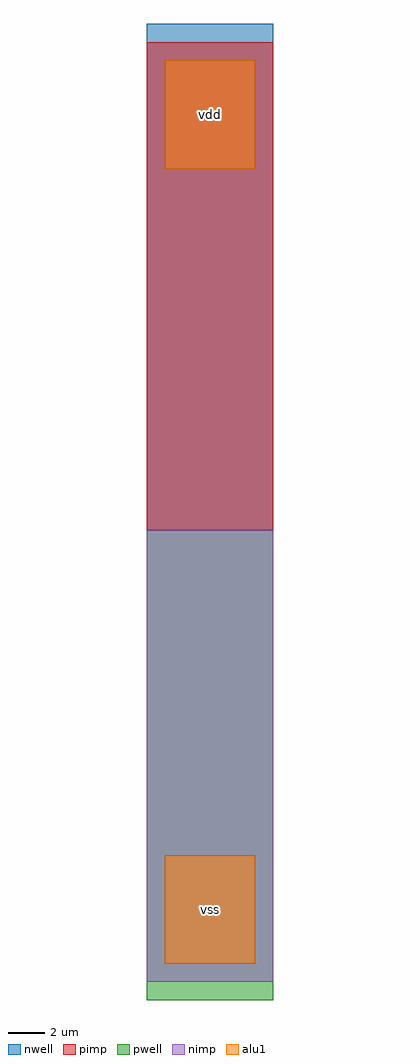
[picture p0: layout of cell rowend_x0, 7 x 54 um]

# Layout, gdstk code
import gdstk
lib = gdstk.Library(unit=1e-6, precision=1e-09)
def R(c, l, rs):  # rectangles x0, y0, x1, y1
    for r in rs: c.add(gdstk.rectangle(r[:2], r[2:], *l))
pwell = (41, 0)
nwell = (42, 0)
pimp = (44, 0)
nimp = (45, 0)
alu1 = (49, 0)

rowend_x0 = lib.new_cell('rowend_x0')
R(rowend_x0, pwell, [(-1,-2,6,24)])
R(rowend_x0, nwell, [(-1,24,6,52)])
R(rowend_x0, pimp, [(-1,24,6,51)])
R(rowend_x0, nimp, [(-1,-1,6,24)])
R(rowend_x0, alu1, [(0,0,5,6), (0,44,5,50)])
rowend_x0.add(gdstk.Label('vss', (2.5,3), layer=49, texttype=0))
rowend_x0.add(gdstk.Label('vdd', (2.5,47), layer=49, texttype=0))

lib.write_gds('rowend_x0.gds')
